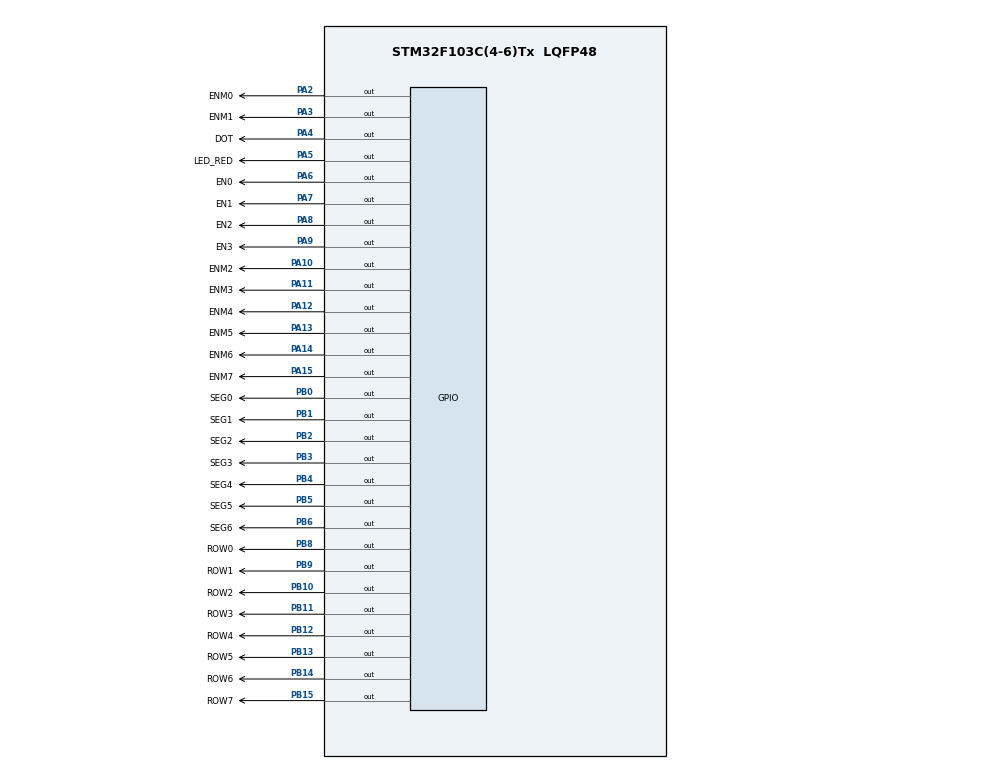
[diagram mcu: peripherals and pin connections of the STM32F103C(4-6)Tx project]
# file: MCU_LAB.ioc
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Mcu.Family=STM32F1
Mcu.Name=STM32F103C(4-6)Tx
Mcu.Package=LQFP48
NVIC.PriorityGroup=NVIC_PRIORITYGROUP_4
NVIC.TIM2_IRQn=true\:0\:0\:false\:false\:true\:true\:true
PA10.GPIO_Label=ENM2
PA10.Signal=GPIO_Output
PA11.GPIO_Label=ENM3
PA11.Signal=GPIO_Output
PA12.GPIO_Label=ENM4
PA12.Signal=GPIO_Output
PA13.GPIO_Label=ENM5
PA13.Signal=GPIO_Output
PA14.GPIO_Label=ENM6
PA14.Signal=GPIO_Output
PA15.GPIO_Label=ENM7
PA15.Signal=GPIO_Output
PA2.GPIO_Label=ENM0
PA2.Signal=GPIO_Output
PA3.GPIO_Label=ENM1
PA3.Signal=GPIO_Output
PA4.GPIO_Label=DOT
PA4.Signal=GPIO_Output
PA5.GPIO_Label=LED_RED
PA5.Signal=GPIO_Output
PA6.GPIO_Label=EN0
PA6.Signal=GPIO_Output
PA7.GPIO_Label=EN1
PA7.Signal=GPIO_Output
PA8.GPIO_Label=EN2
PA8.Signal=GPIO_Output
PA9.GPIO_Label=EN3
PA9.Signal=GPIO_Output
PB0.GPIO_Label=SEG0
PB0.Signal=GPIO_Output
PB1.GPIO_Label=SEG1
PB1.Signal=GPIO_Output
PB10.GPIO_Label=ROW2
PB10.Signal=GPIO_Output
PB11.GPIO_Label=ROW3
PB11.Signal=GPIO_Output
PB12.GPIO_Label=ROW4
PB12.Signal=GPIO_Output
PB13.GPIO_Label=ROW5
PB13.Signal=GPIO_Output
PB14.GPIO_Label=ROW6
PB14.Signal=GPIO_Output
PB15.GPIO_Label=ROW7
PB15.Signal=GPIO_Output
PB2.GPIO_Label=SEG2
PB2.Signal=GPIO_Output
PB3.GPIO_Label=SEG3
PB3.Signal=GPIO_Output
PB4.GPIO_Label=SEG4
PB4.Signal=GPIO_Output
PB5.GPIO_Label=SEG5
PB5.Signal=GPIO_Output
PB6.GPIO_Label=SEG6
PB6.Signal=GPIO_Output
PB8.GPIO_Label=ROW0
PB8.Signal=GPIO_Output
PB9.GPIO_Label=ROW1
PB9.Signal=GPIO_Output
ProjectManager.HeapSize=0x200
ProjectManager.StackSize=0x400
ProjectManager.TargetToolchain=STM32CubeIDE
RCC.APB1Freq_Value=8000000
RCC.APB2Freq_Value=8000000
TIM2.Period=9
TIM2.Prescaler=7999
VP_SYS_VS_ND.Mode=No_Debug
VP_TIM2_VS_ClockSourceINT.Mode=Internal
board=custom

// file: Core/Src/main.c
/* USER CODE BEGIN Header */
/**
  ******************************************************************************
  * @file           : main.c
  * @brief          : Main program body
  ******************************************************************************
  * @attention
  *
  * <h2><center>&copy; Copyright (c) 2026 STMicroelectronics.
  * All rights reserved.</center></h2>
  *
  * This software component is licensed by ST under BSD 3-Clause license,
  * the "License"; You may not use this file except in compliance with the
  * License. You may obtain a copy of the License at:
  *                        opensource.org/licenses/BSD-3-Clause
  *
  ******************************************************************************
  */
/* USER CODE END Header */
#include "main.h"

TIM_HandleTypeDef htim2;

void SystemClock_Config(void);
static void MX_GPIO_Init(void);
static void MX_TIM2_Init(void);

/* USER CODE BEGIN 0 */
#define TICK 10;
enum INDEX {EN0, EN1, EN2, EN3, DOT, SEC, MATRIX, SHIFT};
int counter[8] = {0};
int flag[8] = {0};

void timerRun(){
	for (int i=0;i<8;i++){
		if (counter[i] > 0) counter[i]--;
		if (counter[i] <= 0) flag[i] = 1;
	}
}
void setTimer(int timer, int index){
	counter[index] = timer/TICK;
	flag[index] = 0;
}
void HAL_TIM_PeriodElapsedCallback(TIM_HandleTypeDef *htim){
	if (htim->Instance == TIM2) timerRun();
}
int led_status = RESET;
void toggle(){
	led_status = (led_status == RESET) ? SET : RESET;
	HAL_GPIO_WritePin(DOT_GPIO_Port, DOT_Pin, led_status);
}
void display7SEG(int num)
{
    switch (num)
    {
    case 0:
        HAL_GPIO_WritePin(GPIOB, SEG0_Pin, GPIO_PIN_RESET);
        HAL_GPIO_WritePin(GPIOB, SEG1_Pin, GPIO_PIN_RESET);
        HAL_GPIO_WritePin(GPIOB, SEG2_Pin, GPIO_PIN_RESET);
        HAL_GPIO_WritePin(GPIOB, SEG3_Pin, GPIO_PIN_RESET);
        HAL_GPIO_WritePin(GPIOB, SEG4_Pin, GPIO_PIN_RESET);
        HAL_GPIO_WritePin(GPIOB, SEG5_Pin, GPIO_PIN_RESET);
        HAL_GPIO_WritePin(GPIOB, SEG6_Pin, GPIO_PIN_SET);
        break;

    case 1:
        HAL_GPIO_WritePin(GPIOB, SEG0_Pin, GPIO_PIN_SET);
        HAL_GPIO_WritePin(GPIOB, SEG1_Pin, GPIO_PIN_RESET);
        HAL_GPIO_WritePin(GPIOB, SEG2_Pin, GPIO_PIN_RESET);
        HAL_GPIO_WritePin(GPIOB, SEG3_Pin, GPIO_PIN_SET);
        HAL_GPIO_WritePin(GPIOB, SEG4_Pin, GPIO_PIN_SET);
        HAL_GPIO_WritePin(GPIOB, SEG5_Pin, GPIO_PIN_SET);
        HAL_GPIO_WritePin(GPIOB, SEG6_Pin, GPIO_PIN_SET);
        break;

    case 2:
        HAL_GPIO_WritePin(GPIOB, SEG0_Pin, GPIO_PIN_RESET);
        HAL_GPIO_WritePin(GPIOB, SEG1_Pin, GPIO_PIN_RESET);
        HAL_GPIO_WritePin(GPIOB, SEG2_Pin, GPIO_PIN_SET);
        HAL_GPIO_WritePin(GPIOB, SEG3_Pin, GPIO_PIN_RESET);
        HAL_GPIO_WritePin(GPIOB, SEG4_Pin, GPIO_PIN_RESET);
        HAL_GPIO_WritePin(GPIOB, SEG5_Pin, GPIO_PIN_SET);
        HAL_GPIO_WritePin(GPIOB, SEG6_Pin, GPIO_PIN_RESET);
        break;

    case 3:
        HAL_GPIO_WritePin(GPIOB, SEG0_Pin, GPIO_PIN_RESET);
        HAL_GPIO_WritePin(GPIOB, SEG1_Pin, GPIO_PIN_RESET);
        HAL_GPIO_WritePin(GPIOB, SEG2_Pin, GPIO_PIN_RESET);
        HAL_GPIO_WritePin(GPIOB, SEG3_Pin, GPIO_PIN_RESET);
        HAL_GPIO_WritePin(GPIOB, SEG4_Pin, GPIO_PIN_SET);
        HAL_GPIO_WritePin(GPIOB, SEG5_Pin, GPIO_PIN_SET);
        HAL_GPIO_WritePin(GPIOB, SEG6_Pin, GPIO_PIN_RESET);
        break;

    case 4:
        HAL_GPIO_WritePin(GPIOB, SEG0_Pin, GPIO_PIN_SET);
        HAL_GPIO_WritePin(GPIOB, SEG1_Pin, GPIO_PIN_RESET);
        HAL_GPIO_WritePin(GPIOB, SEG2_Pin, GPIO_PIN_RESET);
        HAL_GPIO_WritePin(GPIOB, SEG3_Pin, GPIO_PIN_SET);
        HAL_GPIO_WritePin(GPIOB, SEG4_Pin, GPIO_PIN_SET);
        HAL_GPIO_WritePin(GPIOB, SEG5_Pin, GPIO_PIN_RESET);
        HAL_GPIO_WritePin(GPIOB, SEG6_Pin, GPIO_PIN_RESET);
        break;

    case 5:
        HAL_GPIO_WritePin(GPIOB, SEG0_Pin, GPIO_PIN_RESET);
        HAL_GPIO_WritePin(GPIOB, SEG1_Pin, GPIO_PIN_SET);
        HAL_GPIO_WritePin(GPIOB, SEG2_Pin, GPIO_PIN_RESET);
        HAL_GPIO_WritePin(GPIOB, SEG3_Pin, GPIO_PIN_RESET);
        HAL_GPIO_WritePin(GPIOB, SEG4_Pin, GPIO_PIN_SET);
        HAL_GPIO_WritePin(GPIOB, SEG5_Pin, GPIO_PIN_RESET);
        HAL_GPIO_WritePin(GPIOB, SEG6_Pin, GPIO_PIN_RESET);
        break;

    case 6:
        HAL_GPIO_WritePin(GPIOB, SEG0_Pin, GPIO_PIN_RESET);
        HAL_GPIO_WritePin(GPIOB, SEG1_Pin, GPIO_PIN_SET);
        HAL_GPIO_WritePin(GPIOB, SEG2_Pin, GPIO_PIN_RESET);
        HAL_GPIO_WritePin(GPIOB, SEG3_Pin, GPIO_PIN_RESET);
        HAL_GPIO_WritePin(GPIOB, SEG4_Pin, GPIO_PIN_RESET);
        HAL_GPIO_WritePin(GPIOB, SEG5_Pin, GPIO_PIN_RESET);
        HAL_GPIO_WritePin(GPIOB, SEG6_Pin, GPIO_PIN_RESET);
        break;

    case 7:
        HAL_GPIO_WritePin(GPIOB, SEG0_Pin, GPIO_PIN_RESET);
        HAL_GPIO_WritePin(GPIOB, SEG1_Pin, GPIO_PIN_RESET);
        HAL_GPIO_WritePin(GPIOB, SEG2_Pin, GPIO_PIN_RESET);
        HAL_GPIO_WritePin(GPIOB, SEG3_Pin, GPIO_PIN_SET);
        HAL_GPIO_WritePin(GPIOB, SEG4_Pin, GPIO_PIN_SET);
        HAL_GPIO_WritePin(GPIOB, SEG5_Pin, GPIO_PIN_SET);
        HAL_GPIO_WritePin(GPIOB, SEG6_Pin, GPIO_PIN_SET);
        break;

    case 8:
        HAL_GPIO_WritePin(GPIOB, SEG0_Pin, GPIO_PIN_RESET);
        HAL_GPIO_WritePin(GPIOB, SEG1_Pin, GPIO_PIN_RESET);
        HAL_GPIO_WritePin(GPIOB, SEG2_Pin, GPIO_PIN_RESET);
        HAL_GPIO_WritePin(GPIOB, SEG3_Pin, GPIO_PIN_RESET);
        HAL_GPIO_WritePin(GPIOB, SEG4_Pin, GPIO_PIN_RESET);
        HAL_GPIO_WritePin(GPIOB, SEG5_Pin, GPIO_PIN_RESET);
        HAL_GPIO_WritePin(GPIOB, SEG6_Pin, GPIO_PIN_RESET);
        break;

    case 9:
        HAL_GPIO_WritePin(GPIOB, SEG0_Pin, GPIO_PIN_RESET);
        HAL_GPIO_WritePin(GPIOB, SEG1_Pin, GPIO_PIN_RESET);
        HAL_GPIO_WritePin(GPIOB, SEG2_Pin, GPIO_PIN_RESET);
        HAL_GPIO_WritePin(GPIOB, SEG3_Pin, GPIO_PIN_RESET);
        HAL_GPIO_WritePin(GPIOB, SEG4_Pin, GPIO_PIN_SET);
        HAL_GPIO_WritePin(GPIOB, SEG5_Pin, GPIO_PIN_RESET);
        HAL_GPIO_WritePin(GPIOB, SEG6_Pin, GPIO_PIN_RESET);
        break;

    default:
        break;
    }
}
const int MAX_LED = 4;
int index_led = 0;
int led_buffer[4] = {1, 2, 3, 4};
void update7SEG(int index){
	switch (index){
		case 0:
			display7SEG(led_buffer[0]);
			break;
		case 1:
			display7SEG(led_buffer[1]);
			break;
		case 2:
			display7SEG(led_buffer[2]);
			break;
		case 3:
			display7SEG(led_buffer[3]);
			break;
		default:
			break;

	}
}
int hour=0, min=0, sec=0;
void updateClock(){
	sec++;
	if (sec >= 60) {
		min++;
		sec = 0;
	}
	if (min >= 60) {
		hour++;
		min = 0;
	}
	if (hour >= 24) {
		hour = 0;
	}
	led_buffer[EN0] = hour/10;
	led_buffer[EN1] = hour%10;
	led_buffer[EN2] = min/10;
	led_buffer[EN3] = min%10;
}
void setClock(int h, int m, int s) {
	hour = h;
	min = m;
	sec = s;
}

// ================= PHẦN LED MATRIX (EX 9 & 10) =================
const int MAX_LED_MATRIX = 8;
int index_led_matrix = 0;
// Buffer chứa mã Hex của chữ 'A'
uint8_t matrix_buffer[8] = {0x00, 0xFE, 0x11, 0x11, 0x11, 0xFE, 0x00, 0x00};

void updateLEDMatrix(int index){
	// Tắt toàn bộ các cột (kéo xuống mức THẤP) để ULN2803 ngắt
	HAL_GPIO_WritePin(GPIOA, ENM0_Pin | ENM1_Pin | ENM2_Pin | ENM3_Pin |
                             ENM4_Pin | ENM5_Pin | ENM6_Pin | ENM7_Pin, GPIO_PIN_RESET);

	// Cấp dữ liệu cho các hàng (ROW) - Mức SET (HIGH) để cấp nguồn
	uint8_t data = matrix_buffer[index];
	HAL_GPIO_WritePin(GPIOB, ROW0_Pin, (data & 0x01) ? SET : RESET);
	HAL_GPIO_WritePin(GPIOB, ROW1_Pin, (data & 0x02) ? SET : RESET);
	HAL_GPIO_WritePin(GPIOB, ROW2_Pin, (data & 0x04) ? SET : RESET);
	HAL_GPIO_WritePin(GPIOB, ROW3_Pin, (data & 0x08) ? SET : RESET);
	HAL_GPIO_WritePin(GPIOB, ROW4_Pin, (data & 0x10) ? SET : RESET);
	HAL_GPIO_WritePin(GPIOB, ROW5_Pin, (data & 0x20) ? SET : RESET);
	HAL_GPIO_WritePin(GPIOB, ROW6_Pin, (data & 0x40) ? SET : RESET);
	HAL_GPIO_WritePin(GPIOB, ROW7_Pin, (data & 0x80) ? SET : RESET);

	// Bật cột (ENM) tương ứng bằng mức CAO (SET) để ULN2803 kéo xuống GND
	switch (index){
		case 0: HAL_GPIO_WritePin(GPIOA, ENM0_Pin, SET); break;
		case 1: HAL_GPIO_WritePin(GPIOA, ENM1_Pin, SET); break;
		case 2: HAL_GPIO_WritePin(GPIOA, ENM2_Pin, SET); break;
		case 3: HAL_GPIO_WritePin(GPIOA, ENM3_Pin, SET); break;
		case 4: HAL_GPIO_WritePin(GPIOA, ENM4_Pin, SET); break;
		case 5: HAL_GPIO_WritePin(GPIOA, ENM5_Pin, SET); break;
		case 6: HAL_GPIO_WritePin(GPIOA, ENM6_Pin, SET); break;
		case 7: HAL_GPIO_WritePin(GPIOA, ENM7_Pin, SET); break;
		default: break;
	}
}

/* USER CODE END 0 */

int main(void)
{

  /* MCU Configuration--------------------------------------------------------*/

  /* Reset of all peripherals, Initializes the Flash interface and the Systick. */
  HAL_Init();

  /* Configure the system clock */
  SystemClock_Config();

  /* Initialize all configured peripherals */
  MX_GPIO_Init();
  MX_TIM2_Init();
  /* USER CODE BEGIN 2 */
  HAL_TIM_Base_Start_IT(&htim2);
  /* EX1, 2 BEGIN.
  setTimer(100, EN0);
  setTimer(225, EN1);
  setTimer(350, EN2);
  setTimer(475, EN3);
  EX1, 2 END. */
  // EX3, 4, 5, 6, 7, 8 BEGIN.
  	setClock(12, 27, 35);
  	setTimer(1, SEC);
	setTimer(100, EN0);
	setTimer(350, EN1);
	setTimer(600, EN2);
	setTimer(850, EN3);
  // EX3, 4, 5, 6, 7, 8 END.
	setTimer(100, DOT);
	setTimer(10, MATRIX);
	  setTimer(500, SHIFT);
  /* USER CODE END 2 */

  /* Infinite loop */
  while (1)
  {

    /* USER CODE BEGIN 3 */
	  if (flag[SEC]) {
		  flag[SEC] = 0;
		  updateClock();
		  setTimer(1000, SEC);
	  }
	  if (flag[EN0]) {
	  		  flag[EN0] = 0;
	  		  // 1. Tắt TẤT CẢ các LED (Mức SET)
	  		  HAL_GPIO_WritePin(GPIOA, EN0_Pin | EN1_Pin | EN2_Pin | EN3_Pin, GPIO_PIN_SET);

	  		  // 2. Cập nhật dữ liệu số mới
	  		  update7SEG(EN0);

	  		  // 3. Bật đúng LED cần hiển thị (Mức RESET)
	  		  HAL_GPIO_WritePin(GPIOA, EN0_Pin, GPIO_PIN_RESET);

	  		  // 4. Giữ nguyên 1000ms theo mốc thời gian của đề
	  		  setTimer(1000, EN0);
	  	  }

	  	  if (flag[EN1]) {
	  		  flag[EN1] = 0;
	  		  HAL_GPIO_WritePin(GPIOA, EN0_Pin | EN1_Pin | EN2_Pin | EN3_Pin, GPIO_PIN_SET);
	  		  update7SEG(EN1);
	  		  HAL_GPIO_WritePin(GPIOA, EN1_Pin, GPIO_PIN_RESET);
	  		  setTimer(1000, EN1);
	  	  }

	  	  if (flag[EN2]) {
	  		  flag[EN2] = 0;
	  		  HAL_GPIO_WritePin(GPIOA, EN0_Pin | EN1_Pin | EN2_Pin | EN3_Pin, GPIO_PIN_SET);
	  		  update7SEG(EN2);
	  		  HAL_GPIO_WritePin(GPIOA, EN2_Pin, GPIO_PIN_RESET);
	  		  setTimer(1000, EN2);
	  	  }

	  	  if (flag[EN3]) {
	  		  flag[EN3] = 0;
	  		  HAL_GPIO_WritePin(GPIOA, EN0_Pin | EN1_Pin | EN2_Pin | EN3_Pin, GPIO_PIN_SET);
	  		  update7SEG(EN3);
	  		  HAL_GPIO_WritePin(GPIOA, EN3_Pin, GPIO_PIN_RESET);
	  		  setTimer(1000, EN3);
	  	  }
	  	  if (flag[DOT]) {
	  		  flag[DOT] = 0;
	  		  toggle();
	  		  setTimer(1000, DOT);
	  	  	  }
	  	// EX 9: Quét sáng lần lượt các cột của LED Matrix
	  		  if (flag[MATRIX]) {
	  			  flag[MATRIX] = 0;
	  			  updateLEDMatrix(index_led_matrix);
	  			  index_led_matrix = (index_led_matrix + 1) % MAX_LED_MATRIX;
	  			  setTimer(10, MATRIX);
	  		  }

	  		  // EX 10: Dịch vòng mảng sang trái để tạo Animation
	  		  if (flag[SHIFT]) {
	  			  flag[SHIFT] = 0;
	  			  uint8_t temp = matrix_buffer[0];
	  			  for (int i = 0; i < MAX_LED_MATRIX - 1; i++) {
	  				  matrix_buffer[i] = matrix_buffer[i+1];
	  			  }
	  			  matrix_buffer[MAX_LED_MATRIX - 1] = temp;
	  			  setTimer(500, SHIFT);
	  		  }
  }

  /* USER CODE END 3 */
}

void SystemClock_Config(void)
{
  RCC_OscInitTypeDef RCC_OscInitStruct = {0};
  RCC_ClkInitTypeDef RCC_ClkInitStruct = {0};

  /** Initializes the RCC Oscillators according to the specified parameters
  * in the RCC_OscInitTypeDef structure.
  */
  RCC_OscInitStruct.OscillatorType = RCC_OSCILLATORTYPE_HSI;
  RCC_OscInitStruct.HSIState = RCC_HSI_ON;
  RCC_OscInitStruct.HSICalibrationValue = RCC_HSICALIBRATION_DEFAULT;
  RCC_OscInitStruct.PLL.PLLState = RCC_PLL_NONE;
  if (HAL_RCC_OscConfig(&RCC_OscInitStruct) != HAL_OK)
  {
    Error_Handler();
  }
  /** Initializes the CPU, AHB and APB buses clocks
  */
  RCC_ClkInitStruct.ClockType = RCC_CLOCKTYPE_HCLK|RCC_CLOCKTYPE_SYSCLK
                              |RCC_CLOCKTYPE_PCLK1|RCC_CLOCKTYPE_PCLK2;
  RCC_ClkInitStruct.SYSCLKSource = RCC_SYSCLKSOURCE_HSI;
  RCC_ClkInitStruct.AHBCLKDivider = RCC_SYSCLK_DIV1;
  RCC_ClkInitStruct.APB1CLKDivider = RCC_HCLK_DIV1;
  RCC_ClkInitStruct.APB2CLKDivider = RCC_HCLK_DIV1;

  if (HAL_RCC_ClockConfig(&RCC_ClkInitStruct, FLASH_LATENCY_0) != HAL_OK)
  {
    Error_Handler();
  }
}

static void MX_TIM2_Init(void)
{

  TIM_ClockConfigTypeDef sClockSourceConfig = {0};
  TIM_MasterConfigTypeDef sMasterConfig = {0};

  htim2.Instance = TIM2;
  htim2.Init.Prescaler = 7999;
  htim2.Init.CounterMode = TIM_COUNTERMODE_UP;
  htim2.Init.Period = 9;
  htim2.Init.ClockDivision = TIM_CLOCKDIVISION_DIV1;
  htim2.Init.AutoReloadPreload = TIM_AUTORELOAD_PRELOAD_DISABLE;
  if (HAL_TIM_Base_Init(&htim2) != HAL_OK)
  {
    Error_Handler();
  }
  sClockSourceConfig.ClockSource = TIM_CLOCKSOURCE_INTERNAL;
  if (HAL_TIM_ConfigClockSource(&htim2, &sClockSourceConfig) != HAL_OK)
  {
    Error_Handler();
  }
  sMasterConfig.MasterOutputTrigger = TIM_TRGO_RESET;
  sMasterConfig.MasterSlaveMode = TIM_MASTERSLAVEMODE_DISABLE;
  if (HAL_TIMEx_MasterConfigSynchronization(&htim2, &sMasterConfig) != HAL_OK)
  {
    Error_Handler();
  }

}

static void MX_GPIO_Init(void)
{
  GPIO_InitTypeDef GPIO_InitStruct = {0};

  /* GPIO Ports Clock Enable */
  __HAL_RCC_GPIOA_CLK_ENABLE();
  __HAL_RCC_GPIOB_CLK_ENABLE();

  /*Configure GPIO pin Output Level */
  HAL_GPIO_WritePin(GPIOA, ENM0_Pin|ENM1_Pin|DOT_Pin|LED_RED_Pin
                          |EN0_Pin|EN1_Pin|EN2_Pin|EN3_Pin
                          |ENM2_Pin|ENM3_Pin|ENM4_Pin|ENM5_Pin
                          |ENM6_Pin|ENM7_Pin, GPIO_PIN_RESET);

  /*Configure GPIO pin Output Level */
  HAL_GPIO_WritePin(GPIOB, SEG0_Pin|SEG1_Pin|SEG2_Pin|ROW2_Pin
                          |ROW3_Pin|ROW4_Pin|ROW5_Pin|ROW6_Pin
                          |ROW7_Pin|SEG3_Pin|SEG4_Pin|SEG5_Pin
                          |SEG6_Pin|ROW0_Pin|ROW1_Pin, GPIO_PIN_RESET);

  /*Configure GPIO pins : ENM0_Pin ENM1_Pin DOT_Pin LED_RED_Pin
                           EN0_Pin EN1_Pin EN2_Pin EN3_Pin
                           ENM2_Pin ENM3_Pin ENM4_Pin ENM5_Pin
                           ENM6_Pin ENM7_Pin */
  GPIO_InitStruct.Pin = ENM0_Pin|ENM1_Pin|DOT_Pin|LED_RED_Pin
                          |EN0_Pin|EN1_Pin|EN2_Pin|EN3_Pin
                          |ENM2_Pin|ENM3_Pin|ENM4_Pin|ENM5_Pin
                          |ENM6_Pin|ENM7_Pin;
  GPIO_InitStruct.Mode = GPIO_MODE_OUTPUT_PP;
  GPIO_InitStruct.Pull = GPIO_NOPULL;
  GPIO_InitStruct.Speed = GPIO_SPEED_FREQ_LOW;
  HAL_GPIO_Init(GPIOA, &GPIO_InitStruct);

  /*Configure GPIO pins : SEG0_Pin SEG1_Pin SEG2_Pin ROW2_Pin
                           ROW3_Pin ROW4_Pin ROW5_Pin ROW6_Pin
                           ROW7_Pin SEG3_Pin SEG4_Pin SEG5_Pin
                           SEG6_Pin ROW0_Pin ROW1_Pin */
  GPIO_InitStruct.Pin = SEG0_Pin|SEG1_Pin|SEG2_Pin|ROW2_Pin
                          |ROW3_Pin|ROW4_Pin|ROW5_Pin|ROW6_Pin
                          |ROW7_Pin|SEG3_Pin|SEG4_Pin|SEG5_Pin
                          |SEG6_Pin|ROW0_Pin|ROW1_Pin;
  GPIO_InitStruct.Mode = GPIO_MODE_OUTPUT_PP;
  GPIO_InitStruct.Pull = GPIO_NOPULL;
  GPIO_InitStruct.Speed = GPIO_SPEED_FREQ_LOW;
  HAL_GPIO_Init(GPIOB, &GPIO_InitStruct);

}

void Error_Handler(void)
{
  /* USER CODE BEGIN Error_Handler_Debug */
  /* User can add his own implementation to report the HAL error return state */
  __disable_irq();
  while (1)
  {
  };
  /* USER CODE END Error_Handler_Debug */
}

/************************ (C) COPYRIGHT STMicroelectronics *****END OF FILE****/
